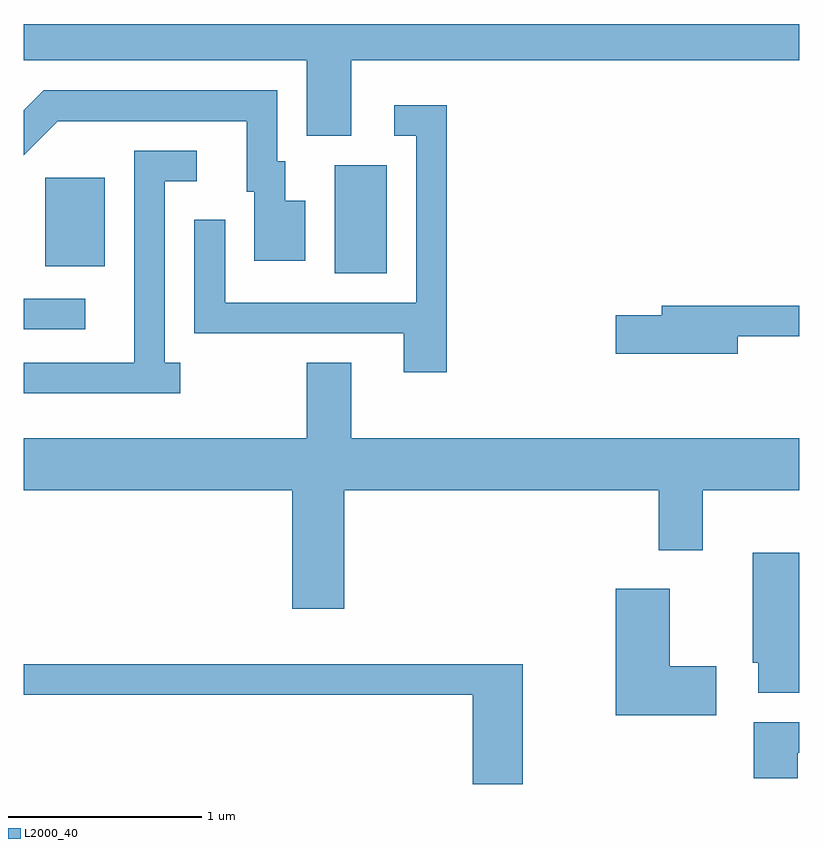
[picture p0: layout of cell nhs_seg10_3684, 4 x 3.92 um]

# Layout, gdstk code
import gdstk
lib = gdstk.Library(unit=1e-6, precision=1e-09)
def R(c, l, rs):  # rectangles x0, y0, x1, y1
    for r in rs: c.add(gdstk.rectangle(r[:2], r[2:], *l))
def P(c, l, *ps):  # polygons
    for p in ps: c.add(gdstk.Polygon(p, *l))
L2000_40 = (2000, 40)

nhs_seg10_3684 = lib.new_cell('nhs_seg10_3684')
R(nhs_seg10_3684, L2000_40, [(293.611,2136.946,293.928,2137.104), (295.216,2137.236,295.484,2137.794), (293.721,2137.271,294.029,2137.729)])
P(nhs_seg10_3684, L2000_40, [(295.299,2138.336),(297.611,2138.336),(297.611,2138.522),(293.611,2138.522),(293.611,2138.336),(295.071,2138.336),(295.071,2137.946),(295.299,2137.946)],
  [(295.064,2137.609),(294.959,2137.609),(294.959,2137.814),(294.919,2137.814),(294.919,2138.179),(293.714,2138.179),(293.611,2138.076),(293.611,2137.846),(293.787,2138.021),(294.761,2138.021),(294.761,2137.656),(294.801,2137.656),(294.801,2137.301),(295.064,2137.301)],
  [(295.794,2138.104),(295.523,2138.104),(295.523,2137.946),(295.636,2137.946),(295.636,2137.084),(294.649,2137.084),(294.649,2137.513),(294.491,2137.513),(294.491,2136.926),(295.571,2136.926),(295.571,2136.726),(295.794,2136.726)],
  [(294.418,2136.774),(294.339,2136.774),(294.339,2137.711),(294.503,2137.711),(294.503,2137.869),(294.181,2137.869),(294.181,2136.774),(293.611,2136.774),(293.611,2136.616),(294.418,2136.616)],
  [(297.294,2136.911),(297.611,2136.911),(297.611,2137.069),(296.901,2137.069),(296.901,2137.019),(296.666,2137.019),(296.666,2136.821),(297.294,2136.821)],
  [(295.264,2136.116),(296.886,2136.116),(296.886,2135.806),(297.114,2135.806),(297.114,2136.116),(297.611,2136.116),(297.611,2136.384),(295.299,2136.384),(295.299,2136.774),(295.071,2136.774),(295.071,2136.384),(293.611,2136.384),(293.611,2136.116),(294.996,2136.116),(294.996,2135.506),(295.264,2135.506)],
  [(297.611,2135.794),(297.371,2135.794),(297.371,2135.226),(297.401,2135.226),(297.401,2135.071),(297.611,2135.071)],
  [(297.184,2135.209),(296.944,2135.209),(296.944,2135.609),(296.666,2135.609),(296.666,2134.956),(297.184,2134.956)],
  [(296.184,2135.219),(293.611,2135.219),(293.611,2135.061),(295.926,2135.061),(295.926,2134.601),(296.184,2134.601)],
  [(297.604,2134.761),(297.611,2134.761),(297.611,2134.919),(297.376,2134.919),(297.376,2134.631),(297.604,2134.631)])

lib.write_gds('nhs_seg10_3684.gds')
